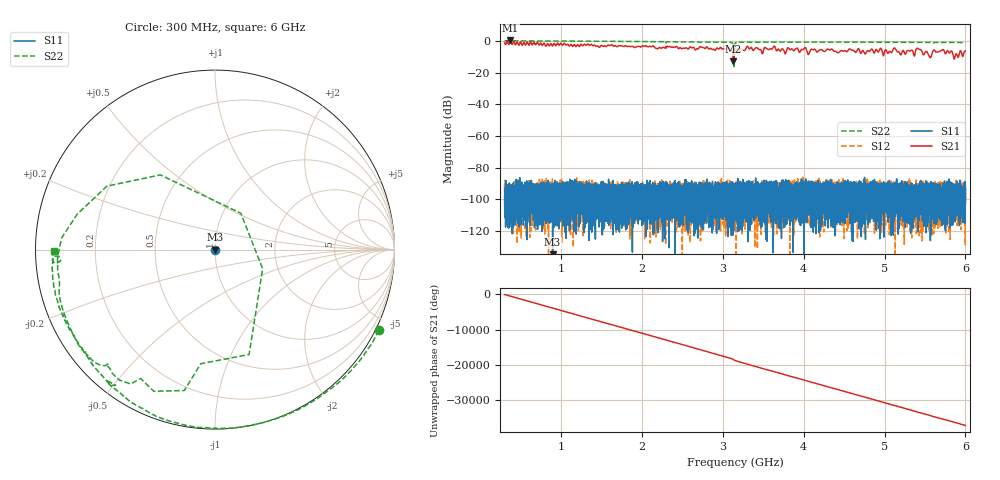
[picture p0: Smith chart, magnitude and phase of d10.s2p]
!Agilent Technologies,N5230C,SG49000117,A.08.50.07
!Agilent N5230C: A.08.50.07
!Date: Sunday, March 17, 2024 05:52:56
!Correction: S11(Off)
!S21(Off)
!S12(Off)
!S22(Full 1 Port(2))
!S2P File: Measurements: S11, S21, S12, S22:
# Hz S  RI  R 50
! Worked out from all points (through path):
!   20001 points, 300 MHz to 6 GHz, reference 50 ohm
!   highest |S21| = 0.38 dB at 372.7 MHz (marker M1); lowest = -12.8 dB at 3.129 GHz (marker M2)
!   lowest |S11| = -142.9 dB at 893.7 MHz (marker M3), VSWR 1.00, Z = 50 - j3.81e-06 ohm
!   |S11| at or under -10 dB: start of sweep to end of sweep
!   |S22| runs from -16.1 to 0.2 dB; largest |S21 - S12| = 1
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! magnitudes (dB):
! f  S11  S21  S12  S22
! 300 MHz  -98.0  -1.1  -95.4  0.1
! 372.7 MHz  -96.7  0.4  -100.2  0.1
! 893.7 MHz  -142.9  -3.1  -95.6  0.0
! 1.25 GHz  -90.0  -2.1  -98.9  0.0
! 2.2 GHz  -94.3  -4.7  -100.1  -0.4
! 3.069 GHz  -97.8  -4.4  -105.4  -0.8
! 3.129 GHz  -93.3  -12.8  -93.4  -5.1
! 3.15 GHz  -97.8  -4.8  -100.5  -1.7
! 3.215 GHz  -92.3  -5.0  -96.1  -0.7
! 4.005 GHz  -92.3  -4.6  -95.5  -0.7
! 4.062 GHz  -104.1  -8.3  -95.4  -0.7
! 4.1 GHz  -101.0  -5.2  -91.6  -0.7
! 5.05 GHz  -106.3  -7.3  -98.8  -0.8
! 5.124 GHz  -99.2  -4.4  -96.8  -0.8
! 5.185 GHz  -96.8  -7.4  -98.5  -0.8
! 5.359 GHz  -97.8  -8.3  -108.1  -0.8
! 5.419 GHz  -101.1  -5.0  -97.7  -0.8
! 5.561 GHz  -101.3  -10.3  -98.1  -0.9
! 5.614 GHz  -90.6  -5.6  -100.5  -0.9
! 5.712 GHz  -102.2  -5.7  -91.8  -0.9
! 5.882 GHz  -101.3  -8.3  -100.6  -0.9
! 6 GHz  -91.4  -6.3  -101.3  -0.9
